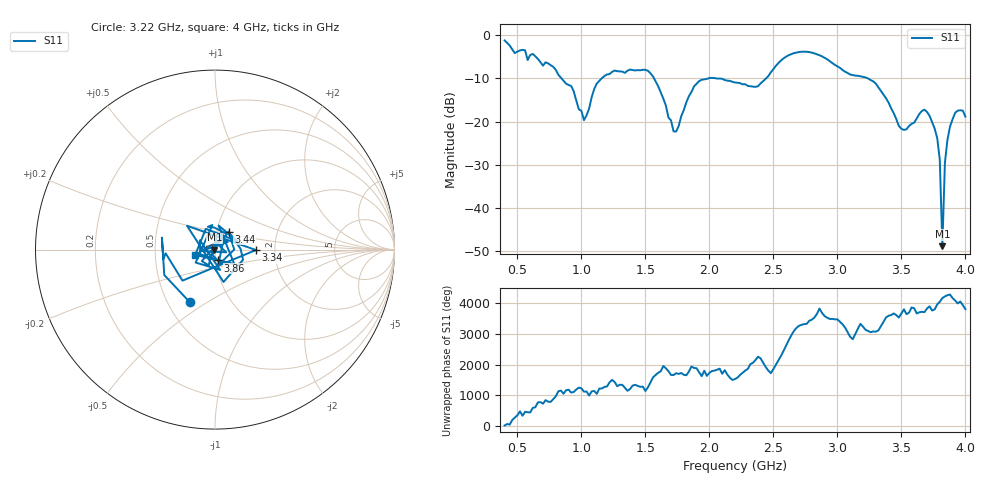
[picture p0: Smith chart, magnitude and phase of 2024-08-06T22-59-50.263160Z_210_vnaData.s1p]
!Created with skrf (http://scikit-rf.org).
# Hz S RI R 50.0
!freq ReS11 ImS11
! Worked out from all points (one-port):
!   181 points, 400 MHz to 4 GHz, reference 50 ohm
!   lowest |S11| = -48.8 dB at 3.82 GHz (marker M1), VSWR 1.01, Z = 49.6 - j0.0682 ohm
!   |S11| at or under -10 dB: 1.568 GHz to 1.989 GHz (420.9 MHz wide, 23.7 % of centre); 2.058 GHz to 2.442 GHz (384.8 MHz wide, 17.1 % of centre); 3.239 GHz to end of sweep (the widest 3 of 4)
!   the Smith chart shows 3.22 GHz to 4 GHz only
!   S11 on the Smith chart (normalised r, x): 3.22 GHz: 0.65, -0.42; 3.34 GHz: 1.59, -0.01; 3.44 GHz: 1.14, +0.23; 3.86 GHz: 1.02, -0.12; 4 GHz: 0.80, -0.05
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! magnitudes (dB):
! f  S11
! 400 MHz  -1.2
! 860 MHz  -10.5
! 920 MHz  -11.7
! 1.02 GHz  -19.6
! 1.12 GHz  -11.2
! 1.3 GHz  -8.4
! 1.52 GHz  -8.2
! 1.6 GHz  -11.8
! 1.72 GHz  -22.3
! 1.76 GHz  -21.0
! 1.92 GHz  -10.6
! 2.2 GHz  -10.9
! 2.38 GHz  -11.8
! 2.66 GHz  -4.1
! 3.1 GHz  -9.1
! 3.22 GHz  -9.8
! 3.34 GHz  -12.8
! 3.44 GHz  -18.0
! 3.5 GHz  -21.6
! 3.56 GHz  -21.0
! 3.68 GHz  -17.2
! 3.76 GHz  -21.6
! 3.8 GHz  -28.8
! 3.82 GHz  -48.8
! 3.84 GHz  -29.5
! 3.86 GHz  -24.2
! 3.92 GHz  -17.9
! 4 GHz  -18.8
